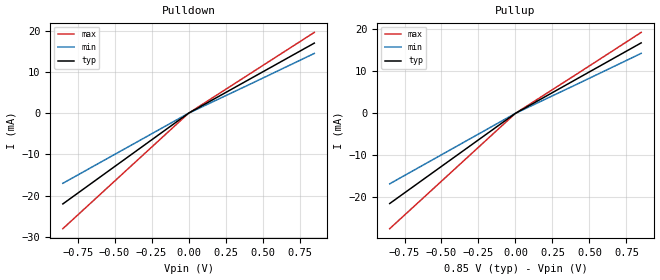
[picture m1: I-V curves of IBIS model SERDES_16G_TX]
[IBIS Ver] 6.1
[File Name] pcie_gen4_serdes.ibs
[File Rev] 1.0
[Date] November 24, 2026
[Component] PCIE4_SERDES_PHY
[Manufacturer] Ansatz Photonics SerDes
[Package]
R_pkg   0.0450   0.0280   0.0720
L_pkg   0.650nH   0.380nH   0.980nH
C_pkg   0.320pF   0.200pF   0.480pF
[Pin] signal_name model_name R_pin L_pin C_pin
1   AVDD085   POWER
2   AVSS   GND
3   PETP0   SERDES_16G_TX
4   PETN0   SERDES_16G_TX
5   PERP0   SERDES_16G_RX
6   PERN0   SERDES_16G_RX
[Model] SERDES_16G_RX
Model_type Input
C_comp 0.30pF 0.22pF 0.42pF
[Voltage Range] 0.85V 0.80V 0.90V
Vinl = 0.35V
Vinh = 0.50V
| Models and submodels in the file (2): SERDES_16G_TX (Output), SERDES_16G_RX (Input)
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[Model] SERDES_16G_TX
Model_type Output
Polarity Non-Inverting
C_comp 0.35pF 0.25pF 0.48pF
[Voltage Range] 0.85V 0.80V 0.90V
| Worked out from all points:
|   slope of the pulldown table from 0 to 0.128 V, typ, clamps not added: 50 ohm
[Pulldown]
-850mV    -22mA      -17mA      -28mA
0V        0A         0A         0A
425mV     8.5mA      7.2mA      9.8mA
850mV     17mA       14.5mA     19.6mA
[Pullup]
-850mV    -21.5mA    -16.8mA    -27.5mA
0V        0A         0A         0A
425mV     8.4mA      7.1mA      9.6mA
850mV     16.8mA     14.3mA     19.3mA
[Ramp]
dV/dt_r 0.40V/0.024ns 0.32V/0.032ns 0.48V/0.018ns
dV/dt_f 0.40V/0.024ns 0.32V/0.032ns 0.48V/0.018ns
R_load 50
